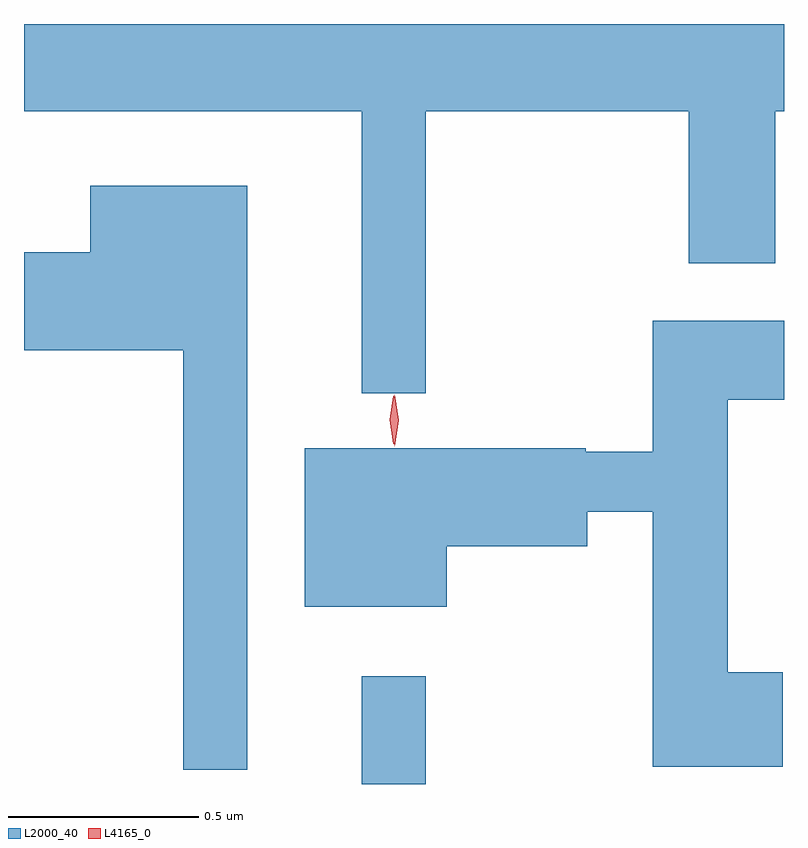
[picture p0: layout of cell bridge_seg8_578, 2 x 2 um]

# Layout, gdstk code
import gdstk
lib = gdstk.Library(unit=1e-6, precision=1e-09)
def R(c, l, rs):  # rectangles x0, y0, x1, y1
    for r in rs: c.add(gdstk.rectangle(r[:2], r[2:], *l))
def P(c, l, *ps):  # polygons
    for p in ps: c.add(gdstk.Polygon(p, *l))
L2000_40 = (2000, 40)
L4165_0 = (4165, 0)

bridge_seg8_578 = lib.new_cell('bridge_seg8_578')
R(bridge_seg8_578, L2000_40, [(566.031,1845.745,566.199,1846.028)])
P(bridge_seg8_578, L2000_40, [(566.199,1847.516),(566.891,1847.516),(566.891,1847.116),(567.119,1847.116),(567.119,1847.516),(567.142,1847.516),(567.142,1847.745),(565.142,1847.745),(565.142,1847.516),(566.031,1847.516),(566.031,1846.773),(566.199,1846.773)],
  [(565.729,1847.319),(565.316,1847.319),(565.316,1847.144),(565.142,1847.144),(565.142,1846.886),(565.561,1846.886),(565.561,1845.783),(565.729,1845.783)],
  [(567.139,1846.039),(566.994,1846.039),(566.994,1846.756),(567.142,1846.756),(567.142,1846.964),(566.796,1846.964),(566.796,1846.619),(566.62,1846.619),(566.62,1846.629),(565.881,1846.629),(565.881,1846.211),(566.254,1846.211),(566.254,1846.371),(566.624,1846.371),(566.624,1846.461),(566.796,1846.461),(566.796,1845.791),(567.139,1845.791)])
P(bridge_seg8_578, L4165_0, [(566.117,1846.634),(566.107,1846.702),(566.117,1846.77),(566.118,1846.77),(566.118,1846.77),(566.128,1846.702),(566.118,1846.634),(566.118,1846.634)],
  [(566.114,1846.64),(566.114,1846.641),(566.104,1846.704),(566.114,1846.766),(566.115,1846.767),(566.115,1846.766),(566.124,1846.703),(566.115,1846.641)])

lib.write_gds('bridge_seg8_578.gds')
